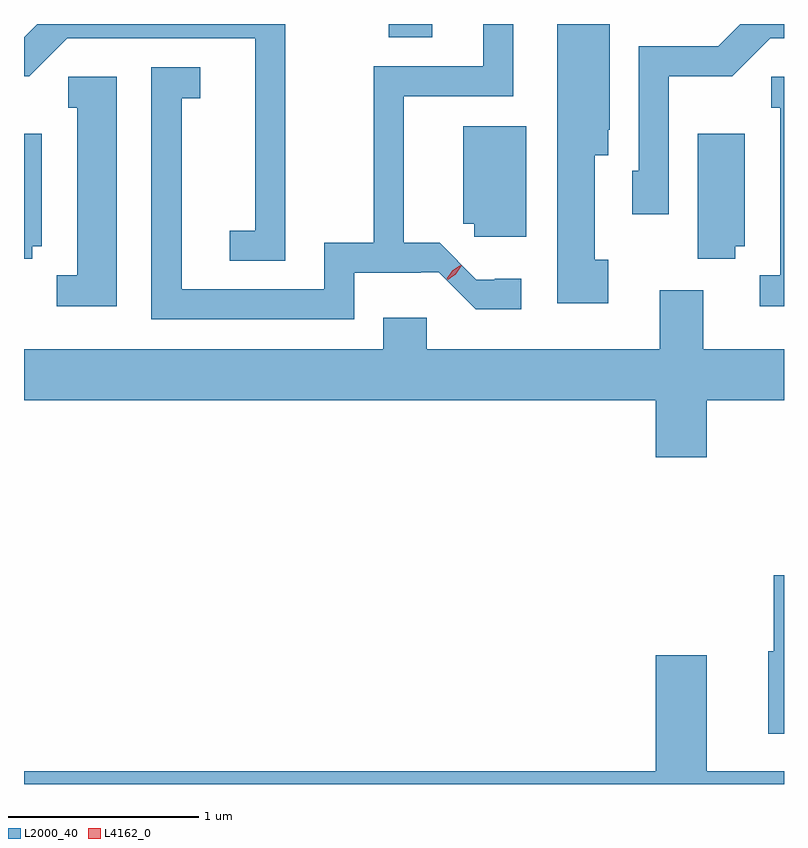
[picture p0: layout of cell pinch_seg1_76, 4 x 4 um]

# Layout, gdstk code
import gdstk
lib = gdstk.Library(unit=1e-6, precision=1e-09)
def R(c, l, rs):  # rectangles x0, y0, x1, y1
    for r in rs: c.add(gdstk.rectangle(r[:2], r[2:], *l))
def P(c, l, *ps):  # polygons
    for p in ps: c.add(gdstk.Polygon(p, *l))
L2000_40 = (2000, 40)
L4162_0 = (4162, 0)

pinch_seg1_76 = lib.new_cell('pinch_seg1_76')
R(pinch_seg1_76, L2000_40, [(193.691,865.966,193.919,866.036)])
P(pinch_seg1_76, L2000_40, [(193.144,866.036),(191.841,866.036),(191.77,865.965),(191.77,865.761),(191.797,865.761),(191.997,865.961),(192.986,865.961),(192.986,864.949),(192.853,864.949),(192.853,864.791),(193.144,864.791)],
  [(194.844,864.794),(194.774,864.794),(194.774,865.346),(194.844,865.346),(194.844,865.48),(194.854,865.48),(194.854,866.036),(194.576,866.036),(194.576,864.566),(194.844,864.566)],
  [(195.164,865.761),(195.497,865.761),(195.697,865.961),(195.77,865.961),(195.77,866.036),(195.541,866.036),(195.424,865.919),(195.006,865.919),(195.006,865.264),(194.971,865.264),(194.971,865.036),(195.164,865.036)],
  [(193.509,864.726),(193.858,864.726),(193.858,864.73),(193.953,864.73),(194.147,864.536),(194.388,864.536),(194.388,864.694),(194.248,864.694),(194.248,864.69),(194.151,864.69),(193.957,864.884),(193.769,864.884),(193.769,865.656),(194.344,865.656),(194.344,866.036),(194.186,866.036),(194.186,865.814),(193.611,865.814),(193.611,864.884),(193.351,864.884),(193.351,864.639),(192.599,864.639),(192.599,865.646),(192.698,865.646),(192.698,865.809),(192.441,865.809),(192.441,864.481),(193.509,864.481)],
  [(192.259,865.759),(192.003,865.759),(192.003,865.596),(192.051,865.596),(192.051,864.714),(191.943,864.714),(191.943,864.551),(192.259,864.551)],
  [(195.77,865.759),(195.703,865.759),(195.703,865.596),(195.751,865.596),(195.751,864.714),(195.643,864.714),(195.643,864.551),(195.77,864.551)],
  [(194.414,865.499),(194.081,865.499),(194.081,864.986),(194.141,864.986),(194.141,864.916),(194.414,864.916)],
  [(191.814,864.866),(191.864,864.866),(191.864,865.459),(191.77,865.459),(191.77,864.801),(191.814,864.801)],
  [(195.514,864.866),(195.564,864.866),(195.564,865.459),(195.316,865.459),(195.316,864.801),(195.514,864.801)],
  [(195.364,864.056),(195.77,864.056),(195.77,864.324),(195.344,864.324),(195.344,864.634),(195.116,864.634),(195.116,864.324),(193.889,864.324),(193.889,864.489),(193.661,864.489),(193.661,864.324),(191.77,864.324),(191.77,864.056),(195.096,864.056),(195.096,863.756),(195.364,863.756)],
  [(195.77,863.134),(195.716,863.134),(195.716,862.734),(195.686,862.734),(195.686,862.301),(195.77,862.301)],
  [(195.77,862.104),(195.364,862.104),(195.364,862.714),(195.096,862.714),(195.096,862.104),(191.77,862.104),(191.77,862.036),(195.77,862.036)])
P(pinch_seg1_76, L4162_0, [(193.996,864.694),(193.996,864.694),(194.024,864.737),(194.066,864.766),(194.066,864.766),(194.066,864.766),(194.039,864.723),(193.997,864.694)],
  [(193.997,864.687),(193.997,864.687),(194.028,864.734),(194.072,864.766),(194.073,864.766),(194.073,864.765),(194.042,864.719),(193.998,864.687)])

lib.write_gds('pinch_seg1_76.gds')
